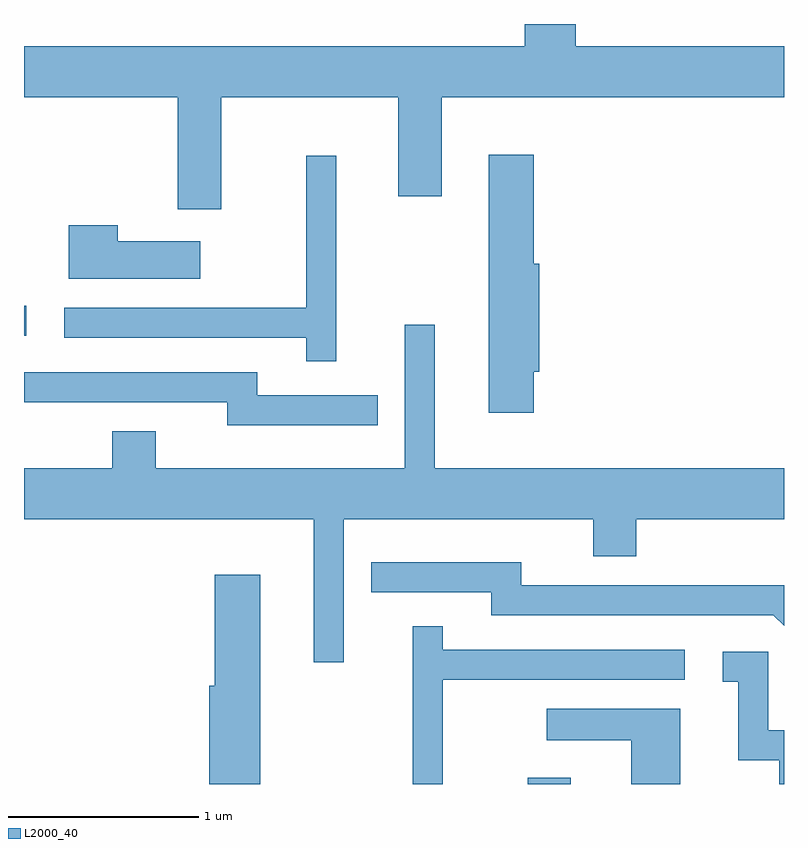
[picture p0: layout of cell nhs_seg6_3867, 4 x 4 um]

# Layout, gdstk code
import gdstk
lib = gdstk.Library(unit=1e-6, precision=1e-09)
def R(c, l, rs):  # rectangles x0, y0, x1, y1
    for r in rs: c.add(gdstk.rectangle(r[:2], r[2:], *l))
def P(c, l, *ps):  # polygons
    for p in ps: c.add(gdstk.Polygon(p, *l))
L2000_40 = (2000, 40)

nhs_seg6_3867 = lib.new_cell('nhs_seg6_3867')
R(nhs_seg6_3867, L2000_40, [(304.261,1584.162,304.489,1584.194), (301.611,1586.521,301.623,1586.679)])
P(nhs_seg6_3867, L2000_40, [(302.649,1587.776),(303.581,1587.776),(303.581,1587.256),(303.809,1587.256),(303.809,1587.776),(305.611,1587.776),(305.611,1588.044),(304.514,1588.044),(304.514,1588.162),(304.246,1588.162),(304.246,1588.044),(301.611,1588.044),(301.611,1587.776),(302.421,1587.776),(302.421,1587.186),(302.649,1587.186)],
  [(304.294,1586.331),(304.324,1586.331),(304.324,1586.899),(304.294,1586.899),(304.294,1587.474),(304.056,1587.474),(304.056,1586.116),(304.294,1586.116)],
  [(303.254,1587.468),(303.096,1587.468),(303.096,1586.669),(301.823,1586.669),(301.823,1586.511),(303.096,1586.511),(303.096,1586.388),(303.254,1586.388)],
  [(302.539,1587.019),(302.104,1587.019),(302.104,1587.104),(301.846,1587.104),(301.846,1586.821),(302.539,1586.821)],
  [(303.294,1585.556),(304.606,1585.556),(304.606,1585.361),(304.834,1585.361),(304.834,1585.556),(305.611,1585.556),(305.611,1585.824),(303.774,1585.824),(303.774,1586.578),(303.616,1586.578),(303.616,1585.824),(302.304,1585.824),(302.304,1586.019),(302.076,1586.019),(302.076,1585.824),(301.611,1585.824),(301.611,1585.556),(303.136,1585.556),(303.136,1584.803),(303.294,1584.803)],
  [(303.473,1586.209),(302.839,1586.209),(302.839,1586.329),(301.611,1586.329),(301.611,1586.171),(302.681,1586.171),(302.681,1586.051),(303.473,1586.051)],
  [(305.611,1585.209),(304.229,1585.209),(304.229,1585.329),(303.438,1585.329),(303.438,1585.171),(304.071,1585.171),(304.071,1585.051),(305.554,1585.051),(305.611,1584.994)],
  [(302.854,1585.264),(302.616,1585.264),(302.616,1584.679),(302.586,1584.679),(302.586,1584.162),(302.854,1584.162)],
  [(303.814,1584.711),(305.088,1584.711),(305.088,1584.869),(303.814,1584.869),(303.814,1584.993),(303.656,1584.993),(303.656,1584.162),(303.814,1584.162)],
  [(305.611,1584.444),(305.529,1584.444),(305.529,1584.859),(305.288,1584.859),(305.288,1584.701),(305.371,1584.701),(305.371,1584.286),(305.586,1584.286),(305.586,1584.162),(305.611,1584.162)],
  [(305.064,1584.559),(304.363,1584.559),(304.363,1584.391),(304.806,1584.391),(304.806,1584.162),(305.064,1584.162)])

lib.write_gds('nhs_seg6_3867.gds')
